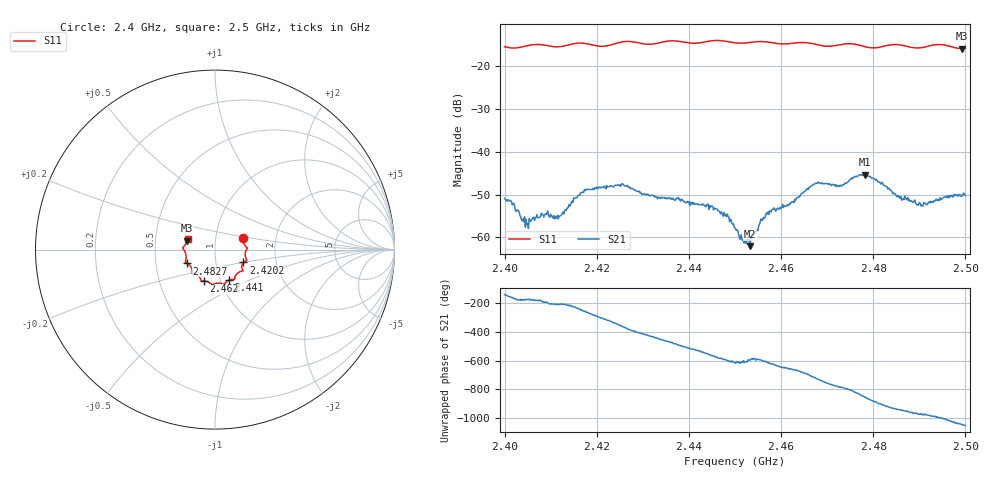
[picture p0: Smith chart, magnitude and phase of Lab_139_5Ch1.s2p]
# Hz S RI R 50
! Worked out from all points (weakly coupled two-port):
!   601 points, 2.4 GHz to 2.5 GHz, reference 50 ohm
!   highest |S21| = -45.30 dB at 2.4782 GHz (marker M1); lowest = -62.1 dB at 2.4532 GHz (marker M2)
!   lowest |S11| = -15.8 dB at 2.4992 GHz (marker M3), VSWR 1.39, Z = 36.5 + j3.67 ohm
!   |S11| at or under -10 dB: start of sweep to end of sweep
!   S12 and S22 are empty: the file has one direction only
!   S11 on the Smith chart (normalised r, x): 2.4 GHz: 1.36, +0.18; 2.4202 GHz: 1.36, -0.20; 2.441 GHz: 1.10, -0.39; 2.462 GHz: 0.84, -0.30; 2.4827 GHz: 0.72, -0.11; 2.5 GHz: 0.73, +0.09
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2.4e9  0.1582 0.0627  -0.00217 -0.00186  0 0  0 0
2.405e9  0.1748 0.0138  -0.00145 -0.000131  0 0  0 0
2.411667e9  0.1681 -0.0243  -0.00144 0.000779  0 0  0 0
2.416667e9  0.1773 -0.0606  -0.00139 0.00302  0 0  0 0
2.420167e9  0.1583 -0.0713  0.0014 0.0036  0 0  0 0
2.426e9  0.1561 -0.1173  0.00398 -0.000592  0 0  0 0
2.433333e9  0.1115 -0.151  0.000156 -0.00294  0 0  0 0
2.441e9  0.0785 -0.1695  -0.00231 -0.000802  0 0  0 0
2.446e9  0.0502 -0.195  -0.00175 0.00124  0 0  0 0
2.45e9  0.0284 -0.1872  -0.000325 0.00125  0 0  0 0
2.4515e9  0.0129 -0.1871  -0.000319 0.000894  0 0  0 0
2.453167e9  -0.00229 -0.1909  -0.000439 0.000653  0 0  0 0
2.457167e9  -0.0204 -0.192  -0.000468 0.00192  0 0  0 0
2.462e9  -0.0604 -0.1754  0.00123 0.00213  0 0  0 0
2.466667e9  -0.0786 -0.1683  0.00396 0.000545  0 0  0 0
2.472833e9  -0.1193 -0.1347  0.0017 -0.00371  0 0  0 0
2.478167e9  -0.1272 -0.114  -0.00389 -0.00379  0 0  0 0
2.482667e9  -0.1562 -0.0772  -0.0038 0.00112  0 0  0 0
2.483333e9  -0.1605 -0.0753  -0.00343 0.00153  0 0  0 0
2.490167e9  -0.1636 -0.0214  -0.000712 0.00239  0 0  0 0
2.499167e9  -0.1544 0.049  0.00259 0.0017  0 0  0 0
2.5e9  -0.1519 0.0608  0.00275 0.00141  0 0  0 0
